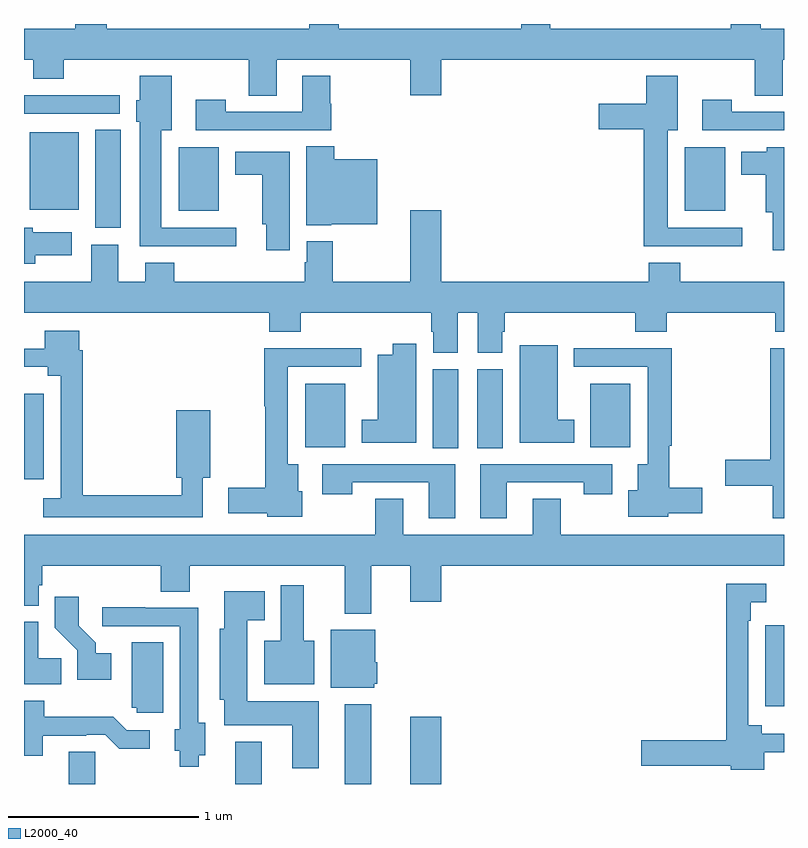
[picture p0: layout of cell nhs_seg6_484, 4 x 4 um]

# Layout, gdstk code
import gdstk
lib = gdstk.Library(unit=1e-6, precision=1e-09)
def R(c, l, rs):  # rectangles x0, y0, x1, y1
    for r in rs: c.add(gdstk.rectangle(r[:2], r[2:], *l))
def P(c, l, *ps):  # polygons
    for p in ps: c.add(gdstk.Polygon(p, *l))
L2000_40 = (2000, 40)

nhs_seg6_484 = lib.new_cell('nhs_seg6_484')
R(nhs_seg6_484, L2000_40, [(139.235,967.5,139.374,967.67), (140.111,967.5,140.251,967.723), (140.687,967.5,140.827,967.921), (141.032,967.5,141.196,967.855), (142.901,967.908,143,968.335), (139,969.105,139.105,969.553), (141.152,969.268,141.286,969.684), (141.386,969.268,141.52,969.684), (140.48,969.272,140.692,969.607), (141.98,969.272,142.192,969.607), (139.376,970.427,139.51,970.943), (139.814,970.517,140.026,970.852), (142.478,970.517,142.69,970.852), (139.031,970.523,139.288,970.93), (139,971.028,139.504,971.124)])
P(nhs_seg6_484, L2000_40, [(140.329,971.312),(141.032,971.312),(141.032,971.124),(141.196,971.124),(141.196,971.312),(142.846,971.312),(142.846,971.122),(142.993,971.122),(142.993,971.312),(143,971.312),(143,971.476),(142.877,971.476),(142.877,971.5),(142.721,971.5),(142.721,971.476),(141.77,971.476),(141.77,971.5),(141.617,971.5),(141.617,971.476),(140.657,971.476),(140.657,971.5),(140.501,971.5),(140.501,971.476),(139.436,971.476),(139.436,971.5),(139.271,971.5),(139.271,971.476),(139,971.476),(139,971.312),(139.049,971.312),(139.049,971.213),(139.209,971.213),(139.209,971.312),(140.182,971.312),(140.182,971.122),(140.329,971.122)],
  [(140.618,971.079),(140.613,971.079),(140.613,971.227),(140.465,971.227),(140.465,971.037),(140.061,971.037),(140.061,971.101),(139.905,971.101),(139.905,970.941),(140.618,970.941)],
  [(142.78,970.428),(142.387,970.428),(142.387,970.94),(142.441,970.94),(142.441,971.227),(142.274,971.227),(142.274,971.08),(142.026,971.08),(142.026,970.946),(142.262,970.946),(142.262,970.331),(142.78,970.331)],
  [(140.116,970.428),(139.723,970.428),(139.723,970.94),(139.777,970.94),(139.777,971.227),(139.61,971.227),(139.61,971.1),(139.592,971.1),(139.592,970.986),(139.61,970.986),(139.61,970.331),(140.116,970.331)],
  [(143,971.037),(142.725,971.037),(142.725,971.101),(142.569,971.101),(142.569,970.941),(143,970.941)],
  [(140.616,970.445),(140.86,970.445),(140.86,970.789),(140.633,970.789),(140.633,970.856),(140.486,970.856),(140.486,970.442),(140.616,970.442)],
  [(143,970.852),(142.908,970.852),(142.908,970.828),(142.775,970.828),(142.775,970.706),(142.904,970.706),(142.904,970.508),(142.94,970.508),(142.94,970.308),(143,970.308)],
  [(140.398,970.828),(140.111,970.828),(140.111,970.706),(140.255,970.706),(140.255,970.446),(140.276,970.446),(140.276,970.308),(140.398,970.308)],
  [(139.059,970.283),(139.252,970.283),(139.252,970.405),(139.047,970.405),(139.047,970.428),(139,970.428),(139,970.238),(139.059,970.238)],
  [(142.289,970.243),(142.289,970.144),(141.196,970.144),(141.196,970.519),(141.032,970.519),(141.032,970.144),(140.625,970.144),(140.625,970.357),(140.489,970.357),(140.489,970.245),(140.477,970.245),(140.477,970.144),(139.79,970.144),(139.79,970.243),(139.637,970.243),(139.637,970.144),(139.495,970.144),(139.495,970.339),(139.355,970.339),(139.355,970.144),(139,970.144),(139,969.98),(140.291,969.98),(140.291,969.881),(140.456,969.881),(140.456,969.98),(141.143,969.98),(141.143,969.879),(141.155,969.879),(141.155,969.769),(141.283,969.769),(141.283,969.98),(141.389,969.98),(141.389,969.769),(141.517,969.769),(141.517,969.879),(141.53,969.879),(141.53,969.98),(142.217,969.98),(142.217,969.881),(142.382,969.881),(142.382,969.98),(142.955,969.98),(142.955,969.881),(143,969.881),(143,970.144),(142.454,970.144),(142.454,970.243)],
  [(139.942,969.113),(139.98,969.113),(139.98,969.466),(139.802,969.466),(139.802,969.113),(139.829,969.113),(139.829,969.02),(139.31,969.02),(139.31,969.782),(139.291,969.782),(139.291,969.886),(139.109,969.886),(139.109,969.792),(139,969.792),(139,969.696),(139.124,969.696),(139.124,969.65),(139.194,969.65),(139.194,969.004),(139.101,969.004),(139.101,968.904),(139.942,968.904)],
  [(141.064,969.817),(140.942,969.817),(140.942,969.76),(140.861,969.76),(140.861,969.418),(140.777,969.418),(140.777,969.296),(141.064,969.296)],
  [(141.895,969.418),(141.808,969.418),(141.808,969.808),(141.608,969.808),(141.608,969.296),(141.895,969.296)],
  [(142.392,968.924),(142.57,968.924),(142.57,969.059),(142.396,969.059),(142.396,969.28),(142.409,969.28),(142.409,969.794),(141.893,969.794),(141.893,969.696),(142.283,969.696),(142.283,969.184),(142.229,969.184),(142.229,969.046),(142.181,969.046),(142.181,968.906),(142.392,968.906)],
  [(140.464,969.042),(140.443,969.042),(140.443,969.184),(140.389,969.184),(140.389,969.696),(140.776,969.696),(140.776,969.794),(140.264,969.794),(140.264,969.489),(140.269,969.489),(140.269,969.059),(140.076,969.059),(140.076,968.924),(140.28,968.924),(140.28,968.906),(140.464,968.906)],
  [(143,969.794),(142.928,969.794),(142.928,969.206),(142.692,969.206),(142.692,969.071),(142.94,969.071),(142.94,968.898),(143,968.898)],
  [(141.271,969.183),(140.571,969.183),(140.571,969.024),(140.727,969.024),(140.727,969.087),(141.131,969.087),(141.131,968.898),(141.271,968.898)],
  [(141.541,969.087),(141.946,969.087),(141.946,969.024),(142.096,969.024),(142.096,969.183),(141.401,969.183),(141.401,968.898),(141.541,968.898)],
  [(143,968.812),(141.825,968.812),(141.825,969.002),(141.677,969.002),(141.677,968.812),(140.995,968.812),(140.995,969.002),(140.848,969.002),(140.848,968.812),(139,968.812),(139,968.438),(139.077,968.438),(139.077,968.547),(139.097,968.547),(139.097,968.648),(139.721,968.648),(139.721,968.512),(139.873,968.512),(139.873,968.648),(140.687,968.648),(140.687,968.396),(140.827,968.396),(140.827,968.648),(141.032,968.648),(141.032,968.46),(141.196,968.46),(141.196,968.648),(143,968.648)],
  [(142.897,967.668),(143,967.668),(143,967.764),(142.882,967.764),(142.882,967.81),(142.812,967.81),(142.812,968.36),(142.824,968.36),(142.824,968.457),(142.906,968.457),(142.906,968.553),(142.696,968.553),(142.696,967.73),(142.248,967.73),(142.248,967.595),(142.719,967.595),(142.719,967.574),(142.897,967.574)],
  [(140.527,968.254),(140.473,968.254),(140.473,968.545),(140.351,968.545),(140.351,968.254),(140.264,968.254),(140.264,968.024),(140.527,968.024)],
  [(140.551,967.936),(140.176,967.936),(140.176,968.363),(140.266,968.363),(140.266,968.515),(140.054,968.515),(140.054,968.316),(140.03,968.316),(140.03,967.944),(140.054,967.944),(140.054,967.808),(140.411,967.808),(140.411,967.584),(140.551,967.584)],
  [(139.459,968.188),(139.378,968.188),(139.378,968.243),(139.288,968.333),(139.288,968.485),(139.162,968.485),(139.162,968.322),(139.281,968.203),(139.281,968.048),(139.459,968.048)],
  [(139.919,967.652),(139.954,967.652),(139.954,967.823),(139.917,967.823),(139.917,968.427),(139.637,968.427),(139.637,968.43),(139.413,968.43),(139.413,968.331),(139.821,968.331),(139.821,967.788),(139.793,967.788),(139.793,967.674),(139.82,967.674),(139.82,967.592),(139.919,967.592)],
  [(139.196,968.162),(139.075,968.162),(139.075,968.353),(139,968.353),(139,968.024),(139.196,968.024)],
  [(140.844,968.028),(140.86,968.028),(140.86,968.142),(140.848,968.142),(140.848,968.311),(140.615,968.311),(140.615,968.006),(140.844,968.006)],
  [(139.732,968.246),(139.568,968.246),(139.568,967.902),(139.593,967.902),(139.593,967.875),(139.732,967.875)],
  [(139.099,967.755),(139.328,967.755),(139.328,967.758),(139.428,967.758),(139.501,967.685),(139.663,967.685),(139.663,967.782),(139.542,967.782),(139.469,967.855),(139.107,967.855),(139.107,967.939),(139,967.939),(139,967.65),(139.099,967.65)])

lib.write_gds('nhs_seg6_484.gds')
